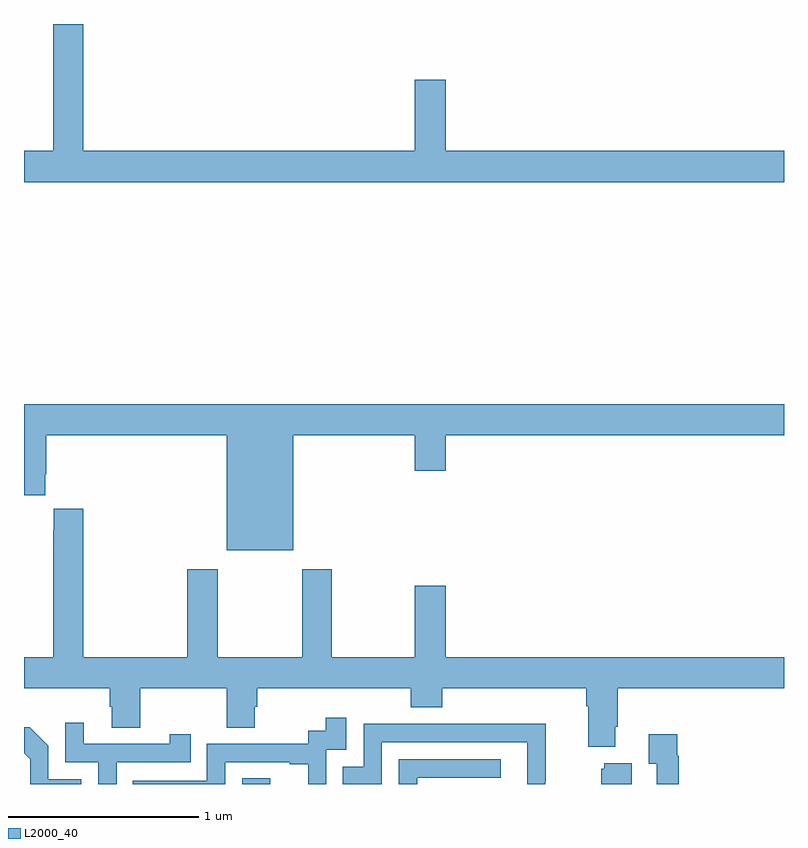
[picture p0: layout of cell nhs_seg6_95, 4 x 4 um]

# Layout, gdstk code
import gdstk
lib = gdstk.Library(unit=1e-6, precision=1e-09)
def R(c, l, rs):  # rectangles x0, y0, x1, y1
    for r in rs: c.add(gdstk.rectangle(r[:2], r[2:], *l))
def P(c, l, *ps):  # polygons
    for p in ps: c.add(gdstk.Polygon(p, *l))
L2000_40 = (2000, 40)

nhs_seg6_95 = lib.new_cell('nhs_seg6_95')
R(nhs_seg6_95, L2000_40, [(116.148,945.5,116.296,945.529)])
P(nhs_seg6_95, L2000_40, [(119,948.832),(117.22,948.832),(117.22,949.207),(117.056,949.207),(117.056,948.832),(115.313,948.832),(115.313,949.5),(115.157,949.5),(115.157,949.499),(115.153,949.499),(115.153,948.832),(115,948.832),(115,948.668),(119,948.668)],
  [(116.416,947.336),(117.056,947.336),(117.056,947.148),(117.22,947.148),(117.22,947.336),(119,947.336),(119,947.5),(115,947.5),(115,947.019),(115.111,947.019),(115.111,947.131),(115.118,947.131),(115.118,947.336),(116.066,947.336),(116.066,946.73),(116.416,946.73)],
  [(118.111,945.802),(118.124,945.802),(118.124,946.004),(119,946.004),(119,946.168),(117.22,946.168),(117.22,946.543),(117.056,946.543),(117.056,946.168),(116.619,946.168),(116.619,946.63),(116.464,946.63),(116.464,946.168),(116.019,946.168),(116.019,946.63),(115.859,946.63),(115.859,946.168),(115.313,946.168),(115.313,946.948),(115.157,946.948),(115.157,946.835),(115.153,946.835),(115.153,946.168),(115,946.168),(115,946.004),(115.451,946.004),(115.451,945.906),(115.463,945.906),(115.463,945.796),(115.611,945.796),(115.611,946.004),(116.068,946.004),(116.068,945.796),(116.215,945.796),(116.215,945.906),(116.228,945.906),(116.228,946.004),(117.035,946.004),(117.035,945.905),(117.2,945.905),(117.2,946.004),(117.959,946.004),(117.959,945.908),(117.971,945.908),(117.971,945.695),(118.111,945.695)],
  [(116.058,945.615),(116.399,945.615),(116.399,945.603),(116.495,945.603),(116.495,945.5),(116.592,945.5),(116.592,945.681),(116.697,945.681),(116.697,945.85),(116.589,945.85),(116.589,945.78),(116.496,945.78),(116.496,945.711),(115.962,945.711),(115.962,945.516),(115.573,945.516),(115.573,945.5),(116.058,945.5)],
  [(115.488,945.615),(115.877,945.615),(115.877,945.763),(115.766,945.763),(115.766,945.711),(115.315,945.711),(115.315,945.823),(115.218,945.823),(115.218,945.615),(115.392,945.615),(115.392,945.5),(115.488,945.5)],
  [(116.883,945.72),(117.648,945.72),(117.648,945.5),(117.744,945.5),(117.744,945.511),(117.747,945.511),(117.747,945.818),(117.283,945.818),(117.283,945.816),(116.787,945.816),(116.787,945.591),(116.677,945.591),(116.677,945.5),(116.883,945.5)],
  [(115.302,945.525),(115.128,945.525),(115.128,945.702),(115.03,945.8),(115,945.8),(115,945.662),(115.032,945.63),(115.032,945.5),(115.302,945.5)],
  [(118.445,945.65),(118.438,945.65),(118.438,945.763),(118.289,945.763),(118.289,945.607),(118.329,945.607),(118.329,945.5),(118.445,945.5)],
  [(117.069,945.534),(117.508,945.534),(117.508,945.63),(116.973,945.63),(116.973,945.5),(117.069,945.5)],
  [(118.198,945.61),(118.055,945.61),(118.055,945.579),(118.037,945.579),(118.037,945.5),(118.198,945.5)])

lib.write_gds('nhs_seg6_95.gds')
